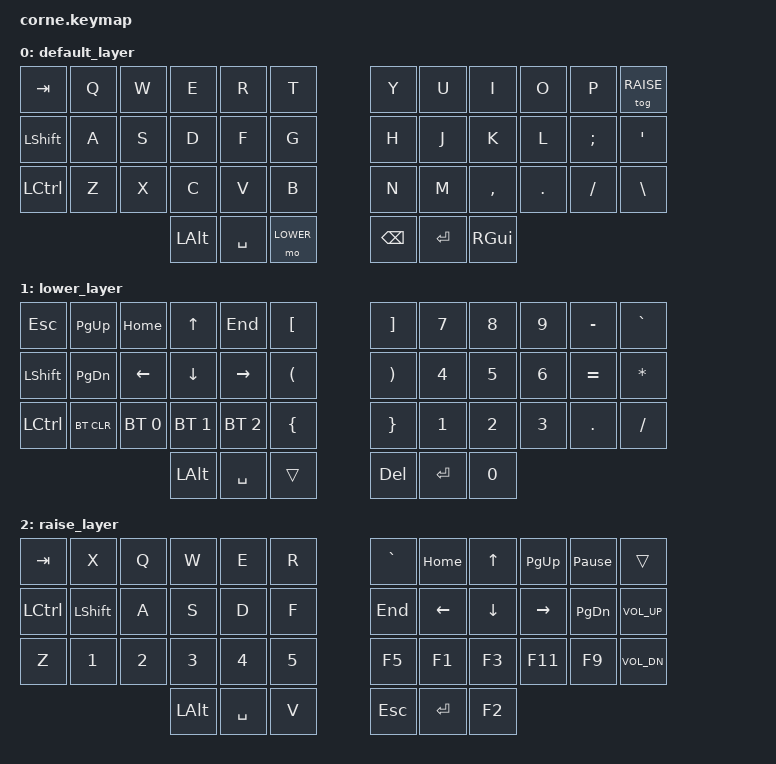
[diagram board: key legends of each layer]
/*
 * Copyright (c) 2020 The ZMK Contributors
 *
 * SPDX-License-Identifier: MIT
 */

#include <behaviors.dtsi>
#include <dt-bindings/zmk/keys.h>
#include <dt-bindings/zmk/bt.h>

#define DEFAULT 0
#define LOWER   1
#define RAISE   2

/ {
        keymap {
                compatible = "zmk,keymap";

                default_layer {
// -----------------------------------------------------------------------------------------
// | TAB  |  Q  |  W  |  E  |  R  |  T  |-  -|  Y   |  U   |  I  |  O  |  P   | RSE |
// | SHFT |  A  |  S  |  D  |  F  |  G  |-  -|  H   |  J   |  K  |  L  |  ;   |  '  |
// | CTRL |  Z  |  X  |  C  |  V  |  B  |-  -|  N   |  M   |  ,  |  .  |  /?  |  \| |
//                    | ALT | SPC | LWR |-  -| BSPC | RET  | GUI |
                        bindings = <
   &kp TAB    &kp Q  &kp W  &kp E    &kp R     &kp T        &kp Y    &kp U    &kp I      &kp O    &kp P     &tog RAISE
   &kp LSHFT  &kp A  &kp S  &kp D    &kp F     &kp G        &kp H    &kp J    &kp K      &kp L    &kp SEMI  &kp SQT
   &kp LCTRL  &kp Z  &kp X  &kp C    &kp V     &kp B        &kp N    &kp M    &kp COMMA  &kp DOT  &kp FSLH  &kp BSLH
                            &kp LALT &kp SPACE &mo LOWER    &kp BSPC &kp RET &kp RGUI
                        >;
                };

                lower_layer {
// -----------------------------------------------------------------------------------------
// | ESC   | PGUP  | HOME | UP  | END | LBKT |-  -| RBKT |  7  |  8  |  9  |  -/_  | GRAVE |
// | SHFT  | PGDN  | LFT  | DWN | RGT | LPAR |-  -| RPAR |  4  |  5  |  6  |  +/=  | STAR  |
// | LCTRL | BTCLR | BT0  | BT1 | BT2 | LBRC |-  -| RBRC |  1  |  2  |  3  |  .    | /?    |
//                        | ALT | SPC |      |-  -| DEL  | RET |  0  |
                        bindings = <
   &kp ESC      &kp PG_UP    &kp HOME     &kp UP       &kp END      &kp LBKT        &kp RBKT  &kp N7   &kp N8 &kp N9  &kp MINUS &kp GRAVE
   &kp LSHFT    &kp PG_DN    &kp LEFT     &kp DOWN     &kp RIGHT    &kp LPAR        &kp RPAR  &kp N4   &kp N5 &kp N6  &kp EQUAL &kp STAR
   &kp LCTRL    &bt BT_CLR   &bt BT_SEL 0 &bt BT_SEL 1 &bt BT_SEL 2 &kp LBRC        &kp RBRC  &kp N1   &kp N2 &kp N3  &kp DOT   &kp FSLH
                                          &kp LALT     &kp SPACE    &trans          &kp DEL   &kp RET  &kp N0
                        >;
                };

                raise_layer {
// -----------------------------------------------------------------------------------------
// | TAB  |  X   |  Q  |  W  |  E  |  R  |-  -| GRAVE | HOME  | UP   | PGUP | PAUSE_BREAK |      |
// | CTRL | SHFT |  A  |  S  |  D  |  F  |-  -| END   | LFT   | DWN  | RGT  | PGDN        | VOL+ |
// | Z    |  1   |  2  |  3  |  4  |  5  |-  -| F5    |  F1   | F3   | F11  | F9          | VOL- |
//                     | ALT | SPC |  V  |-  -| ESC   | RET   | F2   |
                        bindings = <
   &kp TAB   &kp X     &kp Q  &kp W    &kp E     &kp R       &kp GRAVE &kp HOME  &kp UP     &kp PG_UP &kp PAUSE_BREAK &trans
   &kp LCTRL &kp LSHFT &kp A  &kp S    &kp D     &kp F       &kp END   &kp LEFT  &kp DOWN   &kp RIGHT &kp PG_DN       &kp K_VOL_UP
   &kp Z     &kp N1    &kp N2 &kp N3   &kp N4    &kp N5      &kp F5    &kp F1    &kp F3     &kp F11   &kp F9          &kp K_VOL_DN
                              &kp LALT &kp SPACE &kp V       &kp ESC   &kp RET   &kp F2
                        >;
                };
        };
};
